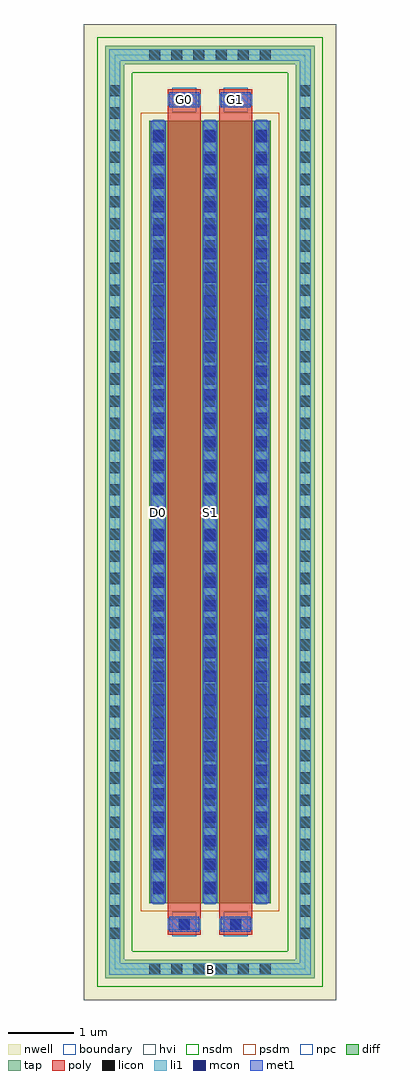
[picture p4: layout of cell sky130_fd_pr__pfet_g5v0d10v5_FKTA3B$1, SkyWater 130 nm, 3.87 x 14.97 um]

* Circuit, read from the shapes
.subckt sky130_fd_pr__pfet_g5v0d10v5_FKTA3B$1 B D0 G0 G1 S1
XM1 S1 G0 D0 B sky130_fd_pr__pfet_g5v0d10v5 w=12 l=0.5
XM2 n1 G1 S1 B sky130_fd_pr__pfet_g5v0d10v5 w=12 l=0.5
.ends

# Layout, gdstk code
import gdstk
lib = gdstk.Library(unit=1e-6, precision=1e-09)
def R(c, l, rs):  # rectangles x0, y0, x1, y1
    for r in rs: c.add(gdstk.rectangle(r[:2], r[2:], *l))
def A(c, l, x, y, w, h, nx, ny, dx, dy):  # array of equal rectangles
    R(c, l, [(x+i*dx, y+j*dy, x+i*dx+w, y+j*dy+h) for i in range(nx) for j in range(ny)])
nwell = (64, 20)
diff = (65, 20)
tap = (65, 44)
poly = (66, 20)
licon = (66, 44)
li1 = (67, 20)
mcon = (67, 44)
met1 = (68, 20)
hvi = (75, 20)
nsdm = (93, 44)
psdm = (94, 20)
npc = (95, 20)
boundary = (235, 4)

sky130_fd_pr__pfet_g5v0d = lib.new_cell('sky130_fd_pr__pfet_g5v0d10v5_FKTA3B$1')
R(sky130_fd_pr__pfet_g5v0d, nwell, [(-1.935,-7.485,1.935,7.485)])
R(sky130_fd_pr__pfet_g5v0d, diff, [(-0.935,-6,0.935,6)])
R(sky130_fd_pr__pfet_g5v0d, tap, [(-1.605,-7.155,1.605,-6.865), (-1.605,-6.865,-1.315,6.865), (1.315,-6.865,1.605,6.865), (-1.605,6.865,1.605,7.155)])
R(sky130_fd_pr__pfet_g5v0d, poly, [(-0.645,-6.485,-0.145,6.485), (0.145,-6.485,0.645,6.485)])
A(sky130_fd_pr__pfet_g5v0d, licon, -0.935, -7.095, 0.17, 0.17, 6, 2, 0.34, 14.02)
A(sky130_fd_pr__pfet_g5v0d, licon, -1.545, -6.545, 0.17, 0.17, 1, 39, 0, 0.34)
A(sky130_fd_pr__pfet_g5v0d, licon, 1.375, -6.545, 0.17, 0.17, 1, 39, 0, 0.34)
A(sky130_fd_pr__pfet_g5v0d, licon, -0.875, -5.865, 0.17, 0.17, 3, 35, 0.79, 0.34)
R(sky130_fd_pr__pfet_g5v0d, licon, [(-0.48,-6.405,-0.31,-6.235), (0.31,-6.405,0.48,-6.235), (-0.48,6.235,-0.31,6.405), (0.31,6.235,0.48,6.405)])
A(sky130_fd_pr__pfet_g5v0d, li1, -0.875, -6.02, 0.17, 12.04, 3, 1, 0.79, 0)
R(sky130_fd_pr__pfet_g5v0d, li1, [(-1.545,-7.095,1.545,-6.925), (-1.545,-6.925,-1.375,6.925), (1.375,-6.925,1.545,6.925), (-0.645,-6.405,-0.145,-6.235), (0.145,-6.405,0.645,-6.235), (-0.645,6.235,-0.145,6.405), (0.145,6.235,0.645,6.405), (-1.545,6.925,1.545,7.095)])
A(sky130_fd_pr__pfet_g5v0d, mcon, -0.875, -5.845, 0.17, 0.17, 3, 33, 0.79, 0.36)
R(sky130_fd_pr__pfet_g5v0d, mcon, [(-0.48,-6.405,-0.31,-6.235), (0.31,-6.405,0.48,-6.235), (-0.48,6.235,-0.31,6.405), (0.31,6.235,0.48,6.405)])
A(sky130_fd_pr__pfet_g5v0d, met1, -0.905, -6, 0.23, 12, 3, 1, 0.79, 0)
R(sky130_fd_pr__pfet_g5v0d, met1, [(-0.625,-6.435,-0.165,-6.205), (0.165,-6.435,0.625,-6.205), (-0.625,6.205,-0.165,6.435), (0.165,6.205,0.625,6.435)])
R(sky130_fd_pr__pfet_g5v0d, hvi, [(-1.935,-7.485,1.935,7.485)])
R(sky130_fd_pr__pfet_g5v0d, nsdm, [(-1.73,-7.28,1.73,-6.74), (-1.73,-6.74,-1.19,6.74), (1.19,-6.74,1.73,6.74), (-1.73,6.74,1.73,7.28)])
R(sky130_fd_pr__pfet_g5v0d, psdm, [(-1.06,-6.125,1.06,6.125)])
R(sky130_fd_pr__pfet_g5v0d, npc, [(-0.58,-6.505,-0.21,-6.135), (0.21,-6.505,0.58,-6.135), (-0.58,6.135,-0.21,6.505), (0.21,6.135,0.58,6.505)])
R(sky130_fd_pr__pfet_g5v0d, boundary, [(-1.46,-7.01,1.46,7.01)])
sky130_fd_pr__pfet_g5v0d.add(gdstk.Label('B', (0,-7.01), layer=67, texttype=5))
sky130_fd_pr__pfet_g5v0d.add(gdstk.Label('D0', (-0.79,0), layer=67, texttype=5))
sky130_fd_pr__pfet_g5v0d.add(gdstk.Label('G0', (-0.395,6.32), layer=67, texttype=5))
sky130_fd_pr__pfet_g5v0d.add(gdstk.Label('S1', (0,0), layer=67, texttype=5))
sky130_fd_pr__pfet_g5v0d.add(gdstk.Label('G1', (0.395,6.32), layer=67, texttype=5))

lib.write_gds('sky130_fd_pr__pfet_g5v0d10v5_FKTA3B_1.gds')
